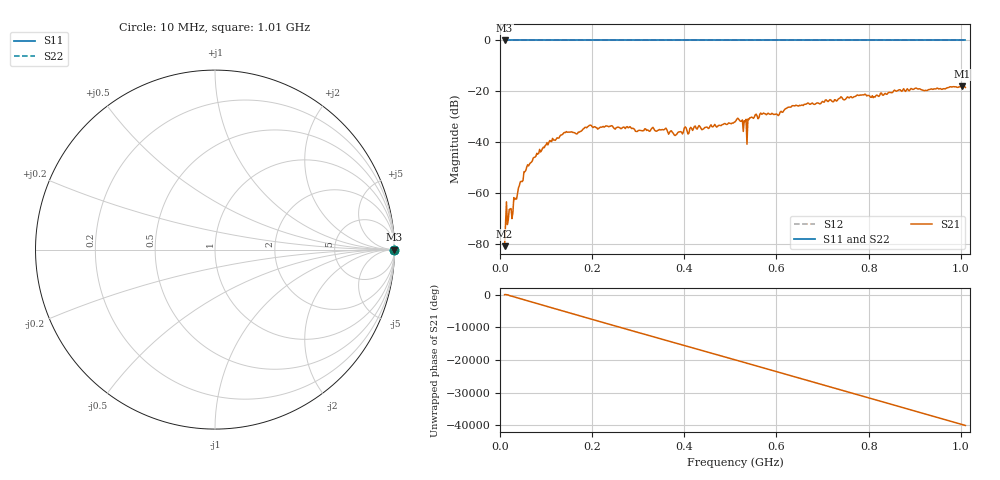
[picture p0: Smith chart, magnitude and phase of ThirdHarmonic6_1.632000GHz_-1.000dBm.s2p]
! 8/16/2025 7:30:45 PM
! C:\ANRITSUVNA\TEMP\TEMP.S2P
! CHANNEL.1
! TR.MEASUREMENT
! RAW.DATA
! RF.CORRECTION.OFF
! AVERAGING.OFF
! IF.BANDWIDTH: 5KHZ
! SWEEPTYPE:  FREQ.SWEEP(Linear)
! Reference Plane Port Info
! PORT:  PORT1  PORT2
! DISTANCE:  0  m  0  m
! TIME:  0  s  0  s
! PHASE.OFFSET:  0  deg.  0  deg.
! LOSS:  0  dB  0  dB
! REF.LOSS:  0  dB  0  dB
! REF.FREQ:  0  Hz  0  Hz
! Power Info
! POWER:  -20  dBm  -20  dBm
! EFF.POWER:  -20  dBm  -20  dBm
! SOURCE.ATTEN:  0  dB  0  dB
! TEST.ATTEN:  0  dB  0  dB
# GHZ S RI R 50.0
! FREQ.GHZ  S11RE  S11IM  S21RE  S21IM  S12RE  S12IM  S22RE  S22IM
!; PortSelection: Port_12
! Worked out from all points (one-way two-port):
!   501 points, 10 MHz to 1.01 GHz, reference 50 ohm
!   highest |S21| = -18.04 dB at 1.002 GHz (marker M1); lowest = -80.8 dB at 10 MHz (marker M2)
!   lowest |S11| = 0.0 dB at 10 MHz (marker M3)
!   |S11| at or under -10 dB: nowhere
!   |S22| runs from 0.0 to 0.0 dB; largest |S21 - S12| = 1.1
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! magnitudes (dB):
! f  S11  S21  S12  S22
! 10 MHz  0.0  -80.8  0.0  0.0
! 18 MHz  0.0  -70.4  0.0  0.0
! 30 MHz  0.0  -61.7  0.0  0.0
! 56 MHz  0.0  -51.0  0.0  0.0
! 76 MHz  0.0  -45.8  0.0  0.0
! 140 MHz  0.0  -36.1  0.0  0.0
! 178 MHz  0.0  -35.3  0.0  0.0
! 196 MHz  0.0  -33.3  0.0  0.0
! 344 MHz  0.0  -35.2  0.0  0.0
! 380 MHz  0.0  -37.3  0.0  0.0
! 510 MHz  0.0  -32.0  0.0  0.0
! 522 MHz  0.0  -31.8  0.0  0.0
! 532 MHz  0.0  -31.9  0.0  0.0
! 540 MHz  0.0  -31.1  0.0  0.0
! 542 MHz  0.0  -30.4  0.0  0.0
! 568 MHz  0.0  -29.0  0.0  0.0
! 602 MHz  0.0  -29.2  0.0  0.0
! 638 MHz  0.0  -25.6  0.0  0.0
! 678 MHz  0.0  -24.6  0.0  0.0
! 844 MHz  0.0  -20.3  0.0  0.0
! 1.002 GHz  0.0  -18.0  0.0  0.0
! 1.01 GHz  0.0  -18.5  0.0  0.0
